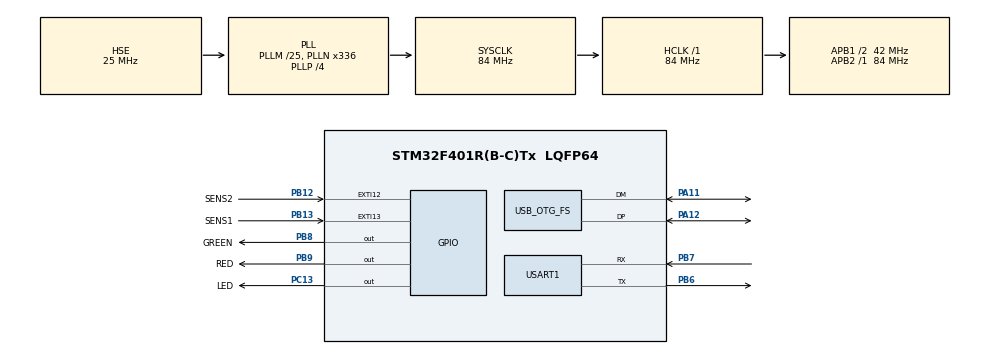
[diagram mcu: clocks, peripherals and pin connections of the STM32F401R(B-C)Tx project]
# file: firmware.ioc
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Mcu.Family=STM32F4
Mcu.Name=STM32F401R(B-C)Tx
Mcu.Package=LQFP64
NVIC.EXTI15_10_IRQn=true\:0\:0\:false\:false\:true\:true\:true\:true
NVIC.OTG_FS_IRQn=true\:0\:0\:false\:false\:true\:true\:true\:true
NVIC.PriorityGroup=NVIC_PRIORITYGROUP_4
PA11.Mode=Device_Only
PA11.Signal=USB_OTG_FS_DM
PA12.Mode=Device_Only
PA12.Signal=USB_OTG_FS_DP
PA13.Mode=Serial_Wire
PA13.Signal=SYS_JTMS-SWDIO
PA14.Mode=Serial_Wire
PA14.Signal=SYS_JTCK-SWCLK
PB12.GPIO_Label=SENS2
PB12.GPIO_ModeDefaultEXTI=GPIO_MODE_IT_FALLING
PB12.Signal=GPXTI12
PB13.GPIO_Label=SENS1
PB13.GPIO_ModeDefaultEXTI=GPIO_MODE_IT_FALLING
PB13.Signal=GPXTI13
PB6.Mode=Asynchronous
PB6.Signal=USART1_TX
PB7.Mode=Asynchronous
PB7.Signal=USART1_RX
PB8.GPIO_Label=GREEN
PB8.GPIO_ModeDefaultOutputPP=GPIO_MODE_OUTPUT_PP
PB8.GPIO_PuPd=GPIO_NOPULL
PB8.PinState=GPIO_PIN_RESET
PB8.Signal=GPIO_Output
PB9.GPIO_Label=RED
PB9.GPIO_ModeDefaultOutputPP=GPIO_MODE_OUTPUT_PP
PB9.GPIO_PuPd=GPIO_NOPULL
PB9.PinState=GPIO_PIN_RESET
PB9.Signal=GPIO_Output
PC13-ANTI_TAMP.GPIO_Label=LED
PC13-ANTI_TAMP.Signal=GPIO_Output
PH0\ -\ OSC_IN.Mode=HSE-External-Oscillator
PH0\ -\ OSC_IN.Signal=RCC_OSC_IN
PH1\ -\ OSC_OUT.Mode=HSE-External-Oscillator
PH1\ -\ OSC_OUT.Signal=RCC_OSC_OUT
ProjectManager.HeapSize=0x200
ProjectManager.StackSize=0x400
ProjectManager.TargetToolchain=Makefile
RCC.48MHZClocksFreq_Value=48000000
RCC.AHBFreq_Value=84000000
RCC.APB1CLKDivider=RCC_HCLK_DIV2
RCC.APB1Freq_Value=42000000
RCC.APB1TimFreq_Value=84000000
RCC.APB2Freq_Value=84000000
RCC.APB2TimFreq_Value=84000000
RCC.CortexFreq_Value=84000000
RCC.HCLKFreq_Value=84000000
RCC.HSE_VALUE=25000000
RCC.HSI_VALUE=16000000
RCC.LSE_VALUE=32768
RCC.PLLM=25
RCC.PLLN=336
RCC.PLLP=RCC_PLLP_DIV4
RCC.PLLQ=7
RCC.SYSCLKFreq_VALUE=84000000
RCC.SYSCLKSource=RCC_SYSCLKSOURCE_PLLCLK
RCC.VCOOutputFreq_Value=336000000
USART1.VirtualMode=VM_ASYNC
USB_DEVICE.CLASS_NAME_FS=CDC
USB_DEVICE.MANUFACTURER_STRING=LUFT-AQUILA
USB_DEVICE.PID_CDC_FS=0x0514
USB_DEVICE.PRODUCT_STRING_CDC_FS=FSK-TC
USB_DEVICE.VID=0x1999
USB_DEVICE.VirtualMode=Cdc
USB_DEVICE.VirtualModeFS=Cdc_FS
USB_OTG_FS.VirtualMode=Device_Only
VP_CRC_VS_CRC.Mode=CRC_Activate
VP_USB_DEVICE_VS_USB_DEVICE_CDC_FS.Mode=CDC_FS
board=custom

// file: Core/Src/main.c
/* USER CODE BEGIN Header */
/**
  ******************************************************************************
  * @file           : main.c
  * @brief          : Main program body
  ******************************************************************************
  * @attention
  *
  * Copyright (c) 2024 STMicroelectronics.
  * All rights reserved.
  *
  * This software is licensed under terms that can be found in the LICENSE file
  * in the root directory of this software component.
  * If no LICENSE file comes with this software, it is provided AS-IS.
  *
  ******************************************************************************
  */
/* USER CODE END Header */
#include "main.h"
#include "crc.h"
#include "usart.h"
#include "usb_device.h"
#include "gpio.h"

/* USER CODE BEGIN Includes */
#include <stdint.h>
/* USER CODE END Includes */

/* USER CODE BEGIN PV */
/* USB buffer and flag */
uint32_t usb_rcv_flag = false;
extern uint8_t UserRxBufferFS[];
extern uint8_t UserTxBufferFS[];

/* USB CDC command from the host system */
typedef enum {
  CMD_HELLO,
  CMD_SENSOR,
  CMD_GREEN,
  CMD_RED,
  CMD_OFF,
  CMD_RESET,
  CMD_COUNT,
} usb_cmd_type_t;

const char usb_cmd[CMD_COUNT][MAX_LEN_USB_CMD + 1] = {
  "$HELLO",
  "$SENSOR",
  "$GREEN",
  "$RED",
  "$OFF",
  "$RESET",
};

/* USER CODE END PV */

void SystemClock_Config(void);

/* USER CODE BEGIN 0 */
void HAL_GPIO_EXTI_Callback(uint16_t GPIO_Pin) {
  if (GPIO_Pin == SENS1_Pin) {

  } else if (GPIO_Pin == SENS2_Pin) {

  }
}

int _write(int file, uint8_t *ptr, int len) {
  HAL_UART_Transmit(&huart1, (uint8_t *)ptr, (uint16_t)len, 30);
  return (len);
}
/* USER CODE END 0 */

int main(void)
{

  /* MCU Configuration--------------------------------------------------------*/

  /* Reset of all peripherals, Initializes the Flash interface and the Systick. */
  HAL_Init();

  /* Configure the system clock */
  SystemClock_Config();

  /* Initialize all configured peripherals */
  MX_GPIO_Init();
  MX_CRC_Init();
  MX_USART1_UART_Init();
  MX_USB_DEVICE_Init();
  /* USER CODE BEGIN 2 */
  HAL_GPIO_WritePin(LED_GPIO_Port, LED_Pin, GPIO_PIN_SET);

  // flash traffic light 3 times
  for (int i = 0; i < 6; i++) {
    // on at even, off at odd
    RED(!(i & 0b01));
    GREEN(!(i & 0b01));
    HAL_Delay(200);
  }

  /* USER CODE END 2 */

  /* Infinite loop */
  while (1) {

  }
}

void SystemClock_Config(void)
{
  RCC_OscInitTypeDef RCC_OscInitStruct = {0};
  RCC_ClkInitTypeDef RCC_ClkInitStruct = {0};

  /** Configure the main internal regulator output voltage
  */
  __HAL_RCC_PWR_CLK_ENABLE();
  __HAL_PWR_VOLTAGESCALING_CONFIG(PWR_REGULATOR_VOLTAGE_SCALE2);

  /** Initializes the RCC Oscillators according to the specified parameters
  * in the RCC_OscInitTypeDef structure.
  */
  RCC_OscInitStruct.OscillatorType = RCC_OSCILLATORTYPE_HSE;
  RCC_OscInitStruct.HSEState = RCC_HSE_ON;
  RCC_OscInitStruct.PLL.PLLState = RCC_PLL_ON;
  RCC_OscInitStruct.PLL.PLLSource = RCC_PLLSOURCE_HSE;
  RCC_OscInitStruct.PLL.PLLM = 25;
  RCC_OscInitStruct.PLL.PLLN = 336;
  RCC_OscInitStruct.PLL.PLLP = RCC_PLLP_DIV4;
  RCC_OscInitStruct.PLL.PLLQ = 7;
  if (HAL_RCC_OscConfig(&RCC_OscInitStruct) != HAL_OK)
  {
    Error_Handler();
  }

  /** Initializes the CPU, AHB and APB buses clocks
  */
  RCC_ClkInitStruct.ClockType = RCC_CLOCKTYPE_HCLK|RCC_CLOCKTYPE_SYSCLK
                              |RCC_CLOCKTYPE_PCLK1|RCC_CLOCKTYPE_PCLK2;
  RCC_ClkInitStruct.SYSCLKSource = RCC_SYSCLKSOURCE_PLLCLK;
  RCC_ClkInitStruct.AHBCLKDivider = RCC_SYSCLK_DIV1;
  RCC_ClkInitStruct.APB1CLKDivider = RCC_HCLK_DIV2;
  RCC_ClkInitStruct.APB2CLKDivider = RCC_HCLK_DIV1;

  if (HAL_RCC_ClockConfig(&RCC_ClkInitStruct, FLASH_LATENCY_2) != HAL_OK)
  {
    Error_Handler();
  }
}

void Error_Handler(void)
{
  /* USER CODE BEGIN Error_Handler_Debug */
  /* User can add his own implementation to report the HAL error return state */
  DEBUG_MSG("\nERROR!\n");

  while (1) {
    HAL_GPIO_TogglePin(LED_GPIO_Port, LED_Pin);
    HAL_Delay(100);
  }
  /* USER CODE END Error_Handler_Debug */
}
